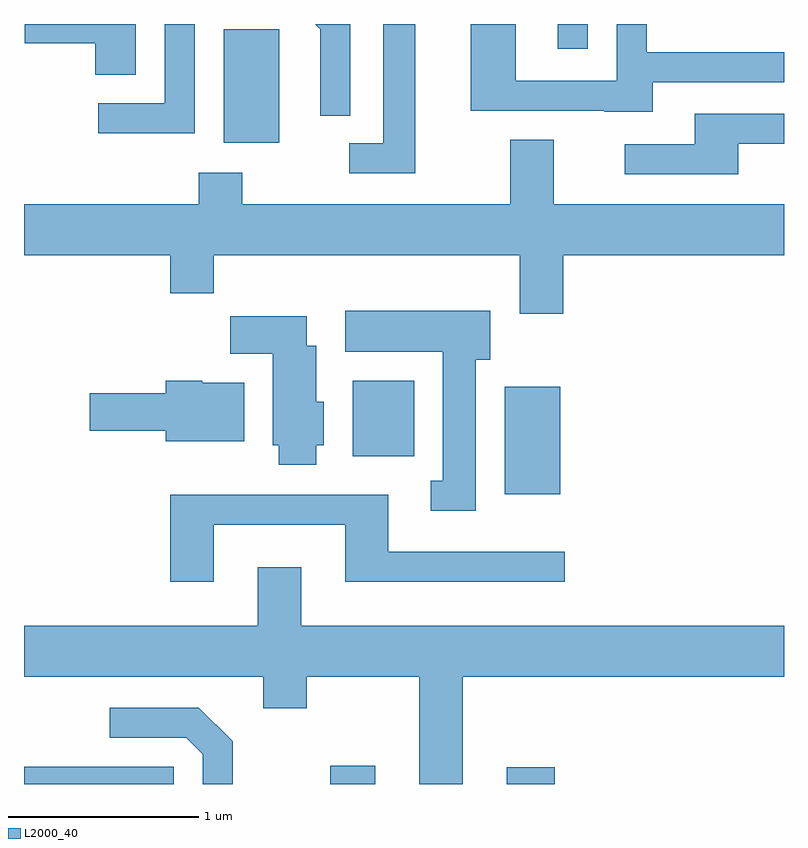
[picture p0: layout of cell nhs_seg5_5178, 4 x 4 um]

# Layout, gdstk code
import gdstk
lib = gdstk.Library(unit=1e-6, precision=1e-09)
def R(c, l, rs):  # rectangles x0, y0, x1, y1
    for r in rs: c.add(gdstk.rectangle(r[:2], r[2:], *l))
def P(c, l, *ps):  # polygons
    for p in ps: c.add(gdstk.Polygon(p, *l))
L2000_40 = (2000, 40)

nhs_seg5_5178 = lib.new_cell('nhs_seg5_5178')
R(nhs_seg5_5178, L2000_40, [(339.611,1394.072,340.399,1394.164), (341.223,1394.072,341.459,1394.169), (342.151,1394.072,342.404,1394.159), (342.141,1395.596,342.434,1396.164), (341.341,1395.796,341.664,1396.194), (340.661,1397.446,340.954,1398.044), (342.421,1397.943,342.579,1398.072)])
P(nhs_seg5_5178, L2000_40, [(340.199,1398.072),(339.616,1398.072),(339.616,1397.971),(339.986,1397.971),(339.986,1397.806),(340.199,1397.806)],
  [(341.329,1398.072),(341.143,1398.072),(341.171,1398.044),(341.171,1397.588),(341.329,1397.588)],
  [(340.509,1398.072),(340.351,1398.072),(340.351,1397.654),(340.003,1397.654),(340.003,1397.496),(340.509,1397.496)],
  [(342.919,1397.766),(343.611,1397.766),(343.611,1397.924),(342.889,1397.924),(342.889,1398.072),(342.731,1398.072),(342.731,1397.774),(342.199,1397.774),(342.199,1398.072),(341.961,1398.072),(341.961,1397.616),(342.665,1397.616),(342.665,1397.611),(342.919,1397.611)],
  [(341.669,1398.072),(341.501,1398.072),(341.501,1397.444),(341.323,1397.444),(341.323,1397.286),(341.669,1397.286)],
  [(343.369,1397.441),(343.611,1397.441),(343.611,1397.599),(343.141,1397.599),(343.141,1397.439),(342.773,1397.439),(342.773,1397.281),(343.369,1397.281)],
  [(342.449,1396.856),(343.611,1396.856),(343.611,1397.124),(342.399,1397.124),(342.399,1397.464),(342.171,1397.464),(342.171,1397.124),(340.759,1397.124),(340.759,1397.289),(340.531,1397.289),(340.531,1397.124),(339.611,1397.124),(339.611,1396.856),(340.381,1396.856),(340.381,1396.656),(340.609,1396.656),(340.609,1396.856),(342.221,1396.856),(342.221,1396.546),(342.449,1396.546)],
  [(341.989,1396.306),(342.064,1396.306),(342.064,1396.564),(341.301,1396.564),(341.301,1396.346),(341.816,1396.346),(341.816,1395.669),(341.753,1395.669),(341.753,1395.511),(341.989,1395.511)],
  [(341.149,1395.856),(341.189,1395.856),(341.189,1396.084),(341.149,1396.084),(341.149,1396.379),(341.099,1396.379),(341.099,1396.534),(340.696,1396.534),(340.696,1396.336),(340.921,1396.336),(340.921,1395.856),(340.951,1395.856),(340.951,1395.751),(341.149,1395.751)],
  [(340.769,1396.184),(340.55,1396.184),(340.55,1396.194),(340.356,1396.194),(340.356,1396.129),(339.956,1396.129),(339.956,1395.931),(340.356,1395.931),(340.356,1395.876),(340.769,1395.876)],
  [(340.609,1395.436),(341.301,1395.436),(341.301,1395.136),(342.458,1395.136),(342.458,1395.294),(341.529,1395.294),(341.529,1395.594),(340.381,1395.594),(340.381,1395.136),(340.609,1395.136)],
  [(341.919,1394.636),(343.611,1394.636),(343.611,1394.904),(341.069,1394.904),(341.069,1395.214),(340.841,1395.214),(340.841,1394.904),(339.611,1394.904),(339.611,1394.636),(340.871,1394.636),(340.871,1394.471),(341.099,1394.471),(341.099,1394.636),(341.691,1394.636),(341.691,1394.072),(341.919,1394.072)],
  [(340.709,1394.297),(340.532,1394.474),(340.063,1394.474),(340.063,1394.316),(340.464,1394.316),(340.551,1394.229),(340.551,1394.072),(340.709,1394.072)])

lib.write_gds('nhs_seg5_5178.gds')
